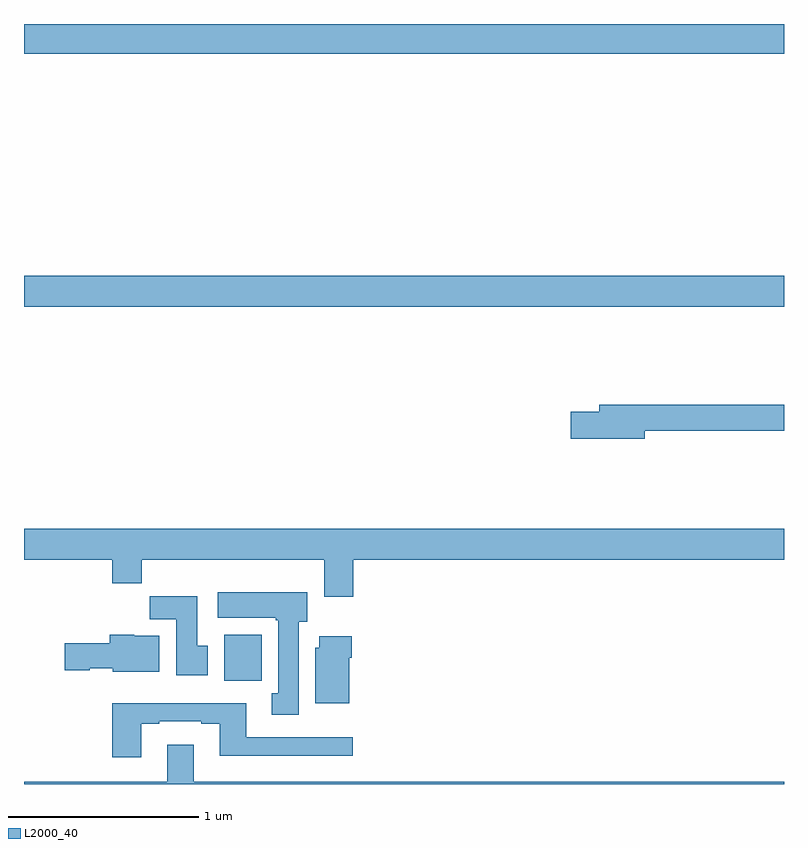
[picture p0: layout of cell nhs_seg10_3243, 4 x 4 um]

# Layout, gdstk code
import gdstk
lib = gdstk.Library(unit=1e-6, precision=1e-09)
def R(c, l, rs):  # rectangles x0, y0, x1, y1
    for r in rs: c.add(gdstk.rectangle(r[:2], r[2:], *l))
def P(c, l, *ps):  # polygons
    for p in ps: c.add(gdstk.Polygon(p, *l))
L2000_40 = (2000, 40)

nhs_seg10_3243 = lib.new_cell('nhs_seg10_3243')
R(nhs_seg10_3243, L2000_40, [(288.053,1269.044,288.25,1269.286), (287,1271.012,291,1271.176), (287,1272.344,291,1272.5)])
P(nhs_seg10_3243, L2000_40, [(290.266,1270.36),(291,1270.36),(291,1270.496),(290.027,1270.496),(290.027,1270.46),(289.878,1270.46),(289.878,1270.318),(290.266,1270.318)],
  [(288.734,1269.68),(291,1269.68),(291,1269.844),(287,1269.844),(287,1269.68),(287.465,1269.68),(287.465,1269.556),(287.621,1269.556),(287.621,1269.68),(288.581,1269.68),(288.581,1269.486),(288.734,1269.486)],
  [(288.445,1269.354),(288.49,1269.354),(288.49,1269.508),(288.021,1269.508),(288.021,1269.374),(288.325,1269.374),(288.325,1269.361),(288.338,1269.361),(288.338,1268.978),(288.305,1268.978),(288.305,1268.865),(288.445,1268.865)],
  [(287.968,1269.228),(287.911,1269.228),(287.911,1269.487),(287.662,1269.487),(287.662,1269.368),(287.801,1269.368),(287.801,1269.072),(287.968,1269.072)],
  [(287.713,1269.28),(287.58,1269.28),(287.58,1269.286),(287.45,1269.286),(287.45,1269.24),(287.214,1269.24),(287.214,1269.098),(287.346,1269.098),(287.346,1269.11),(287.466,1269.11),(287.466,1269.092),(287.713,1269.092)],
  [(288.712,1269.164),(288.725,1269.164),(288.725,1269.277),(288.554,1269.277),(288.554,1269.216),(288.533,1269.216),(288.533,1268.924),(288.712,1268.924)],
  [(287.617,1268.817),(287.713,1268.817),(287.713,1268.829),(287.933,1268.829),(287.933,1268.817),(288.029,1268.817),(288.029,1268.648),(288.73,1268.648),(288.73,1268.745),(288.169,1268.745),(288.169,1268.926),(287.465,1268.926),(287.465,1268.64),(287.617,1268.64)],
  [(291,1268.512),(287.893,1268.512),(287.893,1268.707),(287.753,1268.707),(287.753,1268.512),(287,1268.512),(287,1268.5),(291,1268.5)])

lib.write_gds('nhs_seg10_3243.gds')
